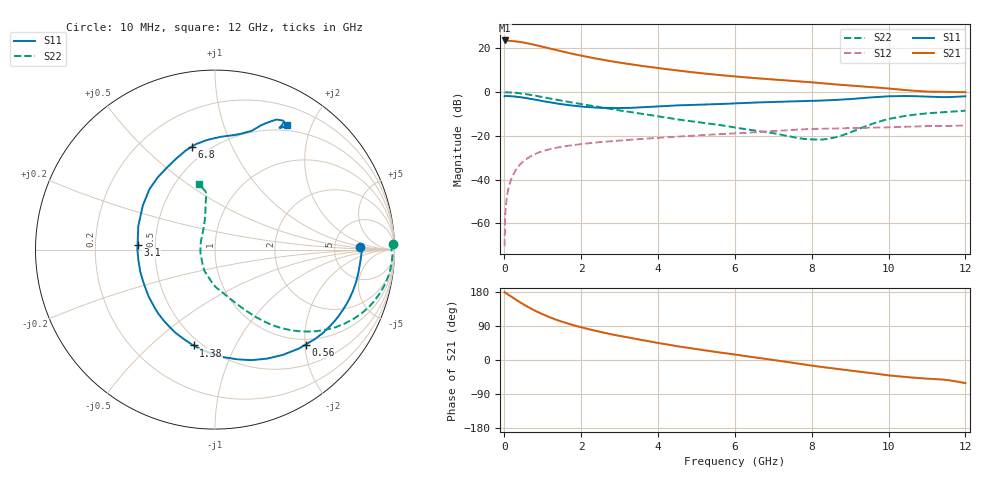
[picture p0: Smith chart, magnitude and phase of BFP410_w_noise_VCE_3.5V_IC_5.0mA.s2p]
! Infineon Technologies  Discrete & RF Semiconductors
! BFP410
! VCE =  3.5 V,  IC =  5.0 mA
! Common Emitter S-Parameters:  Nov 2015
# GHz  S  MA  R  50
!  f  S11  S21  S12  S22
! GHz  MAG  ANG  MAG  ANG  MAG  ANG  MAG  ANG
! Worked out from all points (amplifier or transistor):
!   243 points, 10 MHz to 12 GHz, reference 50 ohm
!   highest |S21| = 23.6 dB at 10 MHz (marker M1)
!   |S21| within 3 dB of that: start of sweep to 1.031 GHz
!   unconditionally stable (mu >= 1): start of sweep to 10.35 MHz; 3.105 GHz to end of sweep
!   at 240 MHz: K = 0.12, MSG = 30.4 dB, |S12| = -37.5 dB
!   at 1.84 GHz: K = 0.63, MSG = 20.7 dB, |S12| = -24.1 dB
!   at 12 GHz: K = 1.07, MAG = 6.0 dB, |S12| = -15.3 dB
!   lowest NFmin = 1.00 dB at 900 MHz
!   S11 on the Smith chart (normalised r, x): 10 MHz: 9.22, +0.66; 560 MHz: 0.88, -2.01; 1.38 GHz: 0.46, -0.69; 3.1 GHz: 0.40, +0.02; 6.8 GHz: 0.41, +0.71; 12 GHz: 0.43, +1.66
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0.01  0.8052 0.9  15.15 179.2  0.0003 67.9  0.9908 1.7
0.02  0.817 -1.0  15.03 178.2  0.0012 74.4  0.9825 0.0
0.035  0.8151 -2.4  14.97 177.1  0.002 79.1  0.9858 -0.8
0.12  0.8086 -10.1  14.88 171.5  0.0068 82.0  0.9863 -4.8
0.2  0.802 -16.9  14.73 166.2  0.0112 79.8  0.9785 -8.3
0.36  0.7775 -30.4  14.22 155.7  0.0195 74.5  0.9506 -14.8
0.56  0.7312 -46.4  13.28 143.3  0.0288 67.3  0.9005 -22.2
0.7  0.6975 -57.3  12.57 135.4  0.0346 63.0  0.8604 -26.9
0.9  0.6484 -71.8  11.45 125.2  0.0416 57.5  0.8001 -32.7
1.1  0.6021 -85.1  10.37 116.2  0.0474 52.9  0.7399 -37.6
1.38  0.5469 -102.6  9.023 105.3  0.054 47.6  0.6642 -43.3
1.68  0.5029 -119.1  7.844 95.4  0.0596 43.4  0.5957 -48.1
2.02  0.4667 -136.0  6.754 86.0  0.0651 39.6  0.5312 -52.5
2.6  0.4342 -163.6  5.405 71.9  0.0731 34.4  0.4348 -59.1
3.1  0.4321 176.7  4.581 61.8  0.0791 31.2  0.3703 -64.0
4.1  0.4749 146.2  3.457 43.4  0.0912 25.6  0.2707 -75.1
5  0.514 128.3  2.774 28.6  0.102 20.4  0.2083 -89.1
6.1  0.5554 111.7  2.24 13.0  0.1149 14.5  0.1499 -106.2
6.8  0.5876 102.7  2.002 3.0  0.125 10.4  0.1218 -121.6
8.2  0.6379 83.5  1.613 -17.5  0.145 -1.5  0.0812 176.1
10.2  0.8068 63.4  1.161 -42.5  0.1585 -15.2  0.2627 101.3
12  0.8008 59.8  0.996 -60.9  0.1712 -30.0  0.3758 103.9
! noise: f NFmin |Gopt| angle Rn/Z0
0.45  1.02  0.27  4  0.25
0.9  1  0.24  16  0.19
1.8  1.16  0.15  54  0.17
2.4  1.16  0.15  52  0.2
5.5  2.1  0.32  -125  0.21
10  3.4  0.67  -52  1.79
